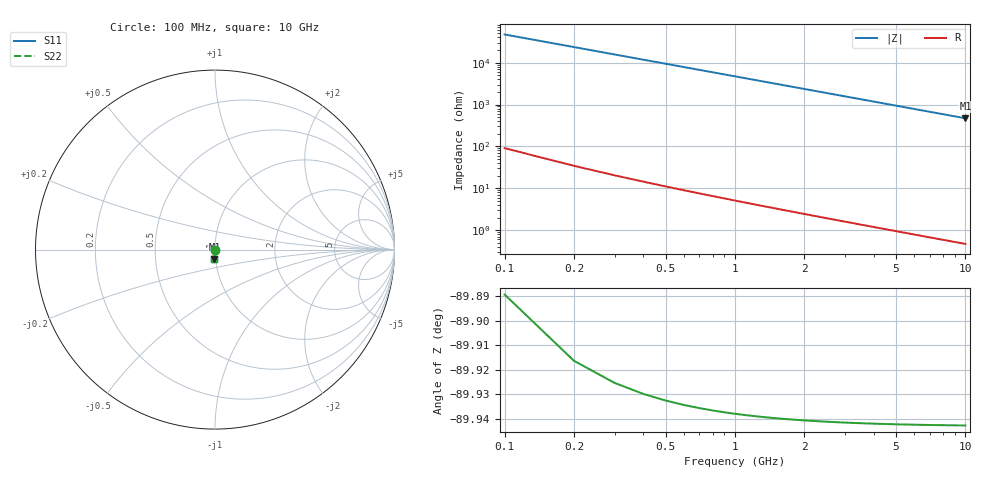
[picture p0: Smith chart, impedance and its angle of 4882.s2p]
# Hz S RI R 50.00
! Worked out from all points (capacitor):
!   100 points, 100 MHz to 10 GHz, reference 50 ohm
!   read as one part in shunt: C = 33.8 fF near 100 MHz
!   lowest |Z| = 470 ohm at 10 GHz (marker M1)
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1e8  1.59e-06 -0.000523  1 -0.000538  1 -0.000538  1.59e-06 -0.000523
2e8  2.38e-07 -0.00105  1 -0.00108  1 -0.00108  2.38e-07 -0.00105
3e8  -1.68e-06 -0.00157  1 -0.00161  1 -0.00161  -1.68e-06 -0.00157
4e8  -4.16e-06 -0.00209  1 -0.00215  1 -0.00215  -4.16e-06 -0.00209
5e8  -7.21e-06 -0.00262  1 -0.00269  1 -0.00269  -7.21e-06 -0.00262
6e8  -1.08e-05 -0.00314  1 -0.00323  1 -0.00323  -1.08e-05 -0.00314
7e8  -1.5e-05 -0.00366  1 -0.00377  1 -0.00377  -1.5e-05 -0.00366
8e8  -1.97e-05 -0.00419  1 -0.00431  1 -0.00431  -1.97e-05 -0.00419
9e8  -2.51e-05 -0.00471  1 -0.00484  1 -0.00484  -2.51e-05 -0.00471
1.1e9  -3.74e-05 -0.00576  1 -0.00592  1 -0.00592  -3.74e-05 -0.00576
1.4e9  -6e-05 -0.00733  0.9999 -0.00754  0.9999 -0.00754  -6e-05 -0.00733
1.8e9  -9.82e-05 -0.00942  0.9999 -0.00969  0.9999 -0.00969  -9.82e-05 -0.00942
2.1e9  -0.000133 -0.011  0.9999 -0.0113  0.9999 -0.0113  -0.000133 -0.011
2.5e9  -0.000187 -0.0131  0.9998 -0.0135  0.9998 -0.0135  -0.000187 -0.0131
2.9e9  -0.00025 -0.0152  0.9997 -0.0156  0.9997 -0.0156  -0.00025 -0.0152
3.4e9  -0.000341 -0.0178  0.9997 -0.0183  0.9997 -0.0183  -0.000341 -0.0178
4.2e9  -0.000517 -0.022  0.9995 -0.0226  0.9995 -0.0226  -0.000517 -0.022
5.1e9  -0.000757 -0.0267  0.9992 -0.0275  0.9992 -0.0275  -0.000757 -0.0267
5.9e9  -0.00101 -0.0309  0.999 -0.0318  0.999 -0.0318  -0.00101 -0.0309
6.7e9  -0.0013 -0.0351  0.9987 -0.0361  0.9987 -0.0361  -0.0013 -0.0351
8.4e9  -0.00203 -0.0439  0.998 -0.0452  0.998 -0.0452  -0.00203 -0.0439
1e10  -0.00287 -0.0523  0.9971 -0.0538  0.9971 -0.0538  -0.00287 -0.0523
